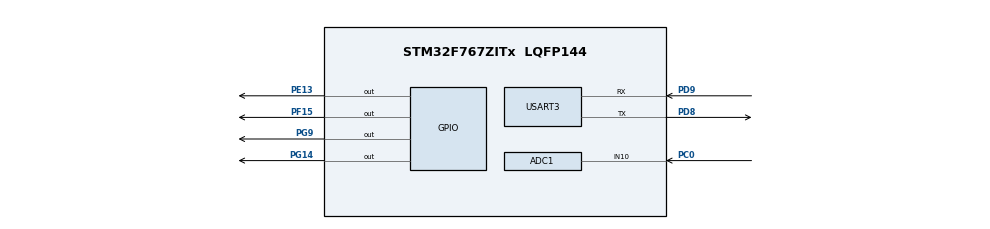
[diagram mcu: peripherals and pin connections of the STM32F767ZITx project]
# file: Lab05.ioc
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ADC1.Channel-0\#ChannelRegularConversion=ADC_CHANNEL_10
ADC1.ContinuousConvMode=ENABLE
ADC1.EOCSelection=ADC_EOC_SEQ_CONV
ADC1.NbrOfConversionFlag=1
ADC1.Rank-0\#ChannelRegularConversion=1
ADC1.SamplingTime-0\#ChannelRegularConversion=ADC_SAMPLETIME_3CYCLES
ADC1.master=1
CORTEX_M7.default_mode_Activation=1
Mcu.Family=STM32F7
Mcu.Name=STM32F767ZITx
Mcu.Package=LQFP144
NVIC.PriorityGroup=NVIC_PRIORITYGROUP_4
PC0.Signal=ADCx_IN10
PD8.Mode=Asynchronous
PD8.Signal=USART3_TX
PD9.Mode=Asynchronous
PD9.Signal=USART3_RX
PE13.Signal=GPIO_Output
PF15.Signal=GPIO_Output
PG14.Signal=GPIO_Output
PG9.Signal=GPIO_Output
ProjectManager.HeapSize=0x200
ProjectManager.StackSize=0x400
ProjectManager.TargetToolchain=STM32CubeIDE
RCC.HSE_VALUE=25000000
RCC.HSI_VALUE=16000000
RCC.LSE_VALUE=32768
RCC.USBFreq_Value=96000000
RCC.VCOOutputFreq_Value=192000000
SH.ADCx_IN10.0=ADC1_IN10,IN10
USART3.VirtualMode-Asynchronous=VM_ASYNC
board=custom

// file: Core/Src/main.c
/* USER CODE BEGIN Header */
/**
  ******************************************************************************
  * @file           : main.c
  * @brief          : Main program body
  ******************************************************************************
  * @attention
  *
  * Copyright (c) 2025 STMicroelectronics.
  * All rights reserved.
  *
  * This software is licensed under terms that can be found in the LICENSE file
  * in the root directory of this software component.
  * If no LICENSE file comes with this software, it is provided AS-IS.
  *
  ******************************************************************************
  */
/* USER CODE END Header */
#include "main.h"
#include "adc.h"
#include "usart.h"
#include "gpio.h"
#include "stdio.h"
#include "string.h"

/* USER CODE BEGIN PD */
volatile uint32_t adc_val = 0;
volatile uint32_t adc_avg_8 = 0;
volatile uint32_t adc_avg_16 = 0;
float voltage = 0;
/* USER CODE END PD */

void SystemClock_Config(void);
static void MPU_Config(void);

/* USER CODE BEGIN 0 */
void displayHEX(uint32_t num ,float voltage)
{
    char buffer[50];
    sprintf(buffer, "ADC1_CH10 0x%08lX Vin = %.2f V\r\n", num, voltage);
    HAL_UART_Transmit(&huart3, (uint8_t*)buffer, strlen(buffer), HAL_MAX_DELAY);
}
void displayLavel(uint32_t adcValue){
	uint8_t level = (adcValue*4) / 4095;
	HAL_GPIO_WritePin(GPIOG ,GPIO_PIN_9, GPIO_PIN_RESET);
	HAL_GPIO_WritePin(GPIOG ,GPIO_PIN_14, GPIO_PIN_RESET);
	HAL_GPIO_WritePin(GPIOF ,GPIO_PIN_15, GPIO_PIN_RESET);
	HAL_GPIO_WritePin(GPIOE ,GPIO_PIN_13, GPIO_PIN_RESET);

	switch(level){
		case 0:

		break;
		case 1:
			HAL_GPIO_WritePin(GPIOG ,GPIO_PIN_9, GPIO_PIN_SET);
			HAL_GPIO_WritePin(GPIOG ,GPIO_PIN_14, GPIO_PIN_RESET);
			HAL_GPIO_WritePin(GPIOF ,GPIO_PIN_15, GPIO_PIN_RESET);
			HAL_GPIO_WritePin(GPIOE ,GPIO_PIN_13, GPIO_PIN_RESET);
		break;
		case 2:
			HAL_GPIO_WritePin(GPIOG ,GPIO_PIN_14, GPIO_PIN_SET);
			HAL_GPIO_WritePin(GPIOG ,GPIO_PIN_9, GPIO_PIN_SET);
			HAL_GPIO_WritePin(GPIOF ,GPIO_PIN_15, GPIO_PIN_RESET);
			HAL_GPIO_WritePin(GPIOE ,GPIO_PIN_13, GPIO_PIN_RESET);
		break;
		case 3:
			HAL_GPIO_WritePin(GPIOG ,GPIO_PIN_14, GPIO_PIN_SET);
			HAL_GPIO_WritePin(GPIOE ,GPIO_PIN_13, GPIO_PIN_SET);
			HAL_GPIO_WritePin(GPIOG ,GPIO_PIN_9, GPIO_PIN_SET);
			HAL_GPIO_WritePin(GPIOF ,GPIO_PIN_15, GPIO_PIN_RESET);
		break;
		case 4:
			HAL_GPIO_WritePin(GPIOG ,GPIO_PIN_9, GPIO_PIN_SET);
			HAL_GPIO_WritePin(GPIOG ,GPIO_PIN_14, GPIO_PIN_SET);
			HAL_GPIO_WritePin(GPIOF ,GPIO_PIN_15, GPIO_PIN_SET);
			HAL_GPIO_WritePin(GPIOE ,GPIO_PIN_13, GPIO_PIN_SET);
			HAL_Delay(300);
		break;
		default:
			break;
	}
}
int average_8(int x)
{
	static int samples[8];
	static int i = 0;
	static int total = 0;

	total += x - samples[i];
	samples[i] = x;
	i = (i==7 ? 0 : i+1);
	return total>>3;
}
int average_16(int x)
{
	static int samples[16];
	static int i = 0;
	static int total = 0;

	total += x - samples[i];
	samples[i] = x;

	i = (i == 15 ? 0 : i+1);
	return total >> 4;
}
/* USER CODE END 0 */

int main(void)
{

  /* MPU Configuration--------------------------------------------------------*/
  MPU_Config();

  /* MCU Configuration--------------------------------------------------------*/

  /* Reset of all peripherals, Initializes the Flash interface and the Systick. */
  HAL_Init();

  /* Configure the system clock */
  SystemClock_Config();

  /* Initialize all configured peripherals */
  MX_GPIO_Init();
  MX_ADC1_Init();
  MX_USART3_UART_Init();
  /* USER CODE BEGIN 2 */
  HAL_ADC_Start(&hadc1);
  /* USER CODE END 2 */

  /* Infinite loop */
  while (1)
  {
	 adc_val = HAL_ADC_GetValue(&hadc1);
	 adc_avg_8 = average_8(adc_val);
	 adc_avg_16 = average_16(adc_val);
	 voltage = (adc_val * 3.3f) / 4095.0f;
	 displayHEX(adc_val, voltage);
	 displayLavel(adc_val);
	 HAL_Delay(300);
  }
}

void SystemClock_Config(void)
{
  RCC_OscInitTypeDef RCC_OscInitStruct = {0};
  RCC_ClkInitTypeDef RCC_ClkInitStruct = {0};

  /** Configure the main internal regulator output voltage
  */
  __HAL_RCC_PWR_CLK_ENABLE();
  __HAL_PWR_VOLTAGESCALING_CONFIG(PWR_REGULATOR_VOLTAGE_SCALE3);

  /** Initializes the RCC Oscillators according to the specified parameters
  * in the RCC_OscInitTypeDef structure.
  */
  RCC_OscInitStruct.OscillatorType = RCC_OSCILLATORTYPE_HSI;
  RCC_OscInitStruct.HSIState = RCC_HSI_ON;
  RCC_OscInitStruct.HSICalibrationValue = RCC_HSICALIBRATION_DEFAULT;
  RCC_OscInitStruct.PLL.PLLState = RCC_PLL_NONE;
  if (HAL_RCC_OscConfig(&RCC_OscInitStruct) != HAL_OK)
  {
    Error_Handler();
  }

  /** Initializes the CPU, AHB and APB buses clocks
  */
  RCC_ClkInitStruct.ClockType = RCC_CLOCKTYPE_HCLK|RCC_CLOCKTYPE_SYSCLK
                              |RCC_CLOCKTYPE_PCLK1|RCC_CLOCKTYPE_PCLK2;
  RCC_ClkInitStruct.SYSCLKSource = RCC_SYSCLKSOURCE_HSI;
  RCC_ClkInitStruct.AHBCLKDivider = RCC_SYSCLK_DIV1;
  RCC_ClkInitStruct.APB1CLKDivider = RCC_HCLK_DIV1;
  RCC_ClkInitStruct.APB2CLKDivider = RCC_HCLK_DIV1;

  if (HAL_RCC_ClockConfig(&RCC_ClkInitStruct, FLASH_LATENCY_0) != HAL_OK)
  {
    Error_Handler();
  }
}

 /* MPU Configuration */

void MPU_Config(void)
{
  MPU_Region_InitTypeDef MPU_InitStruct = {0};

  /* Disables the MPU */
  HAL_MPU_Disable();

  /** Initializes and configures the Region and the memory to be protected
  */
  MPU_InitStruct.Enable = MPU_REGION_ENABLE;
  MPU_InitStruct.Number = MPU_REGION_NUMBER0;
  MPU_InitStruct.BaseAddress = 0x0;
  MPU_InitStruct.Size = MPU_REGION_SIZE_4GB;
  MPU_InitStruct.SubRegionDisable = 0x87;
  MPU_InitStruct.TypeExtField = MPU_TEX_LEVEL0;
  MPU_InitStruct.AccessPermission = MPU_REGION_NO_ACCESS;
  MPU_InitStruct.DisableExec = MPU_INSTRUCTION_ACCESS_DISABLE;
  MPU_InitStruct.IsShareable = MPU_ACCESS_SHAREABLE;
  MPU_InitStruct.IsCacheable = MPU_ACCESS_NOT_CACHEABLE;
  MPU_InitStruct.IsBufferable = MPU_ACCESS_NOT_BUFFERABLE;

  HAL_MPU_ConfigRegion(&MPU_InitStruct);
  /* Enables the MPU */
  HAL_MPU_Enable(MPU_PRIVILEGED_DEFAULT);

}

void Error_Handler(void)
{
  __disable_irq();
  while (1)
  {
  }
}
